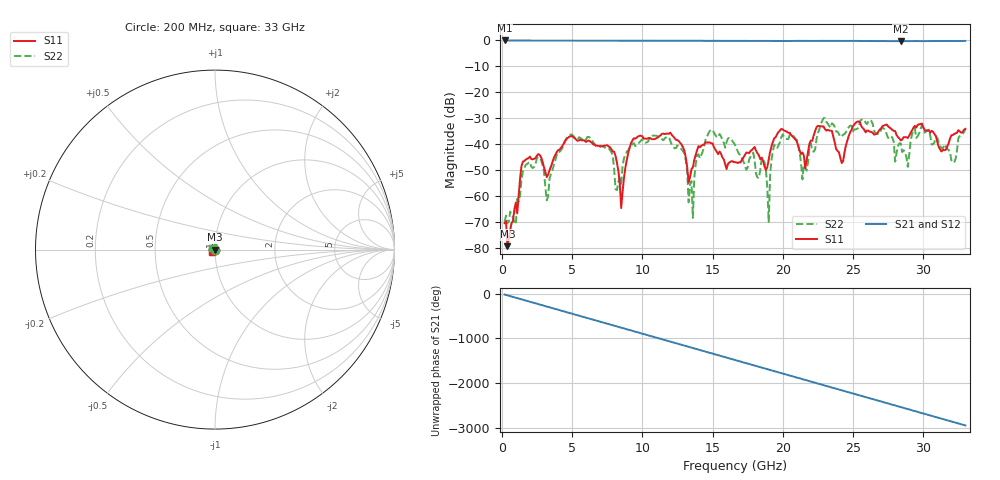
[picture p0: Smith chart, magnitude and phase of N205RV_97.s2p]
# GHZ S RI R 50
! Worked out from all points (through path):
!   329 points, 200 MHz to 33 GHz, reference 50 ohm
!   highest |S21| = -0.02 dB at 200 MHz (marker M1); lowest = -0.3 dB at 28.4 GHz (marker M2)
!   group delay of S21, straight-line fit = 248 ps
!   lowest |S11| = -79.2 dB at 400 MHz (marker M3), VSWR 1.00, Z = 50 + j0.00626 ohm
!   |S11| at or under -10 dB: start of sweep to end of sweep
!   |S22| runs from -70.7 to -29.9 dB; largest |S21 - S12| = 0.0019
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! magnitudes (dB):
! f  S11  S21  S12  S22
! 200 MHz  -70.3  0.0  0.0  -69.7
! 400 MHz  -79.2  0.0  0.0  -70.3
! 1.5 GHz  -46.6  -0.1  -0.1  -50.4
! 2.7 GHz  -44.0  -0.1  -0.1  -45.3
! 3.2 GHz  -52.6  -0.1  -0.1  -61.5
! 5.7 GHz  -38.5  -0.1  -0.1  -38.0
! 8 GHz  -42.8  -0.1  -0.1  -49.9
! 8.5 GHz  -64.5  -0.1  -0.1  -55.1
! 9.2 GHz  -39.5  -0.1  -0.1  -40.5
! 11.2 GHz  -36.9  -0.2  -0.2  -37.2
! 13 GHz  -42.4  -0.1  -0.1  -43.6
! 13.6 GHz  -48.8  -0.1  -0.1  -68.3
! 13.9 GHz  -42.2  -0.1  -0.1  -44.3
! 14.8 GHz  -39.3  -0.2  -0.2  -34.8
! 16.6 GHz  -46.8  -0.2  -0.2  -40.2
! 18.7 GHz  -48.5  -0.2  -0.2  -46.9
! 19 GHz  -45.9  -0.2  -0.2  -69.8
! 19.4 GHz  -37.6  -0.2  -0.2  -40.1
! 22.1 GHz  -38.6  -0.2  -0.2  -42.5
! 27.6 GHz  -33.6  -0.3  -0.3  -36.8
! 28.4 GHz  -38.5  -0.3  -0.3  -39.6
! 33 GHz  -34.0  -0.2  -0.2  -34.1
